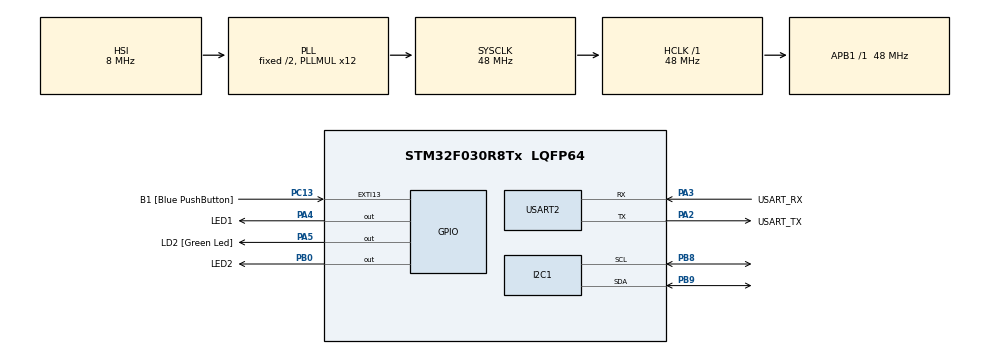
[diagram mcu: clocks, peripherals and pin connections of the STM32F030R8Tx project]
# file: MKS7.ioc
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FREERTOS.Queues01=xVisualQueue,16,uint16_t,0,Dynamic,NULL,NULL
FREERTOS.Tasks01=defaultTask,0,128,StartDefaultTask,Default,NULL,Dynamic,NULL,NULL;VisualTask,0,128,StartVisualTask,Default,NULL,Dynamic,NULL,NULL;AcceleroTask,0,128,StartAcceleroTask,Default,NULL,Dynamic,NULL,NULL
FREERTOS.configUSE_NEWLIB_REENTRANT=1
I2C1.Timing=0x00201D2B
Mcu.Family=STM32F0
Mcu.Name=STM32F030R8Tx
Mcu.Package=LQFP64
NVIC.TIM14_IRQn=true\:3\:0\:false\:false\:true\:false\:false\:true\:true
NVIC.TimeBase=TIM14_IRQn
NVIC.TimeBaseIP=TIM14
PA13.GPIO_Label=TMS
PA13.Mode=Serial_Wire
PA13.Signal=SYS_SWDIO
PA14.GPIO_Label=TCK
PA14.Mode=Serial_Wire
PA14.Signal=SYS_SWCLK
PA2.GPIO_Label=USART_TX
PA2.GPIO_Mode=GPIO_MODE_AF_PP
PA2.GPIO_PuPd=GPIO_NOPULL
PA2.GPIO_Speed=GPIO_SPEED_FREQ_LOW
PA2.Mode=Asynchronous
PA2.Signal=USART2_TX
PA3.GPIO_Label=USART_RX
PA3.GPIO_Mode=GPIO_MODE_AF_PP
PA3.GPIO_PuPd=GPIO_NOPULL
PA3.GPIO_Speed=GPIO_SPEED_FREQ_LOW
PA3.Mode=Asynchronous
PA3.Signal=USART2_RX
PA4.GPIO_Label=LED1
PA4.Signal=GPIO_Output
PA5.GPIO_Label=LD2 [Green Led]
PA5.GPIO_Mode=GPIO_MODE_OUTPUT_PP
PA5.GPIO_PuPd=GPIO_NOPULL
PA5.GPIO_Speed=GPIO_SPEED_FREQ_LOW
PA5.Signal=GPIO_Output
PB0.GPIO_Label=LED2
PB0.Signal=GPIO_Output
PB8.Mode=I2C
PB8.Signal=I2C1_SCL
PB9.Mode=I2C
PB9.Signal=I2C1_SDA
PC13.GPIO_Label=B1 [Blue PushButton]
PC13.GPIO_ModeDefaultEXTI=GPIO_MODE_IT_FALLING
PC13.Signal=GPXTI13
PC14-OSC32_IN.Mode=LSE-External-Oscillator
PC14-OSC32_IN.Signal=RCC_OSC32_IN
PC15-OSC32_OUT.Mode=LSE-External-Oscillator
PC15-OSC32_OUT.Signal=RCC_OSC32_OUT
PF0-OSC_IN.Mode=HSE-External-Clock-Source
PF0-OSC_IN.Signal=RCC_OSC_IN
PF1-OSC_OUT.Signal=RCC_OSC_OUT
ProjectManager.HeapSize=0x200
ProjectManager.StackSize=0x400
ProjectManager.TargetToolchain=STM32CubeIDE
RCC.AHBFreq_Value=48000000
RCC.APB1Freq_Value=48000000
RCC.APB1TimFreq_Value=48000000
RCC.HCLKFreq_Value=48000000
RCC.PLLMUL=RCC_PLL_MUL12
RCC.SYSCLKFreq_VALUE=48000000
RCC.SYSCLKSource=RCC_SYSCLKSOURCE_PLLCLK
USART2.VirtualMode-Asynchronous=VM_ASYNC
VP_FREERTOS_VS_CMSIS_V1.Mode=CMSIS_V1
VP_SYS_VS_tim14.Mode=TIM14
board=NUCLEO-F030R8

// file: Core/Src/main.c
/* USER CODE BEGIN Header */
/**
 ******************************************************************************
 * @file           : main.c
 * @brief          : Main program body
 ******************************************************************************
 * @attention
 *
 * Copyright (c) 2024 STMicroelectronics.
 * All rights reserved.
 *
 * This software is licensed under terms that can be found in the LICENSE file
 * in the root directory of this software component.
 * If no LICENSE file comes with this software, it is provided AS-IS.
 *
 ******************************************************************************
 */
/* USER CODE END Header */
#include "main.h"
#include "cmsis_os.h"

/* USER CODE BEGIN Includes */
#include <stdio.h>
#include "lis2dw12_reg.h"
/* USER CODE END Includes */

I2C_HandleTypeDef hi2c1;

UART_HandleTypeDef huart2;

osThreadId defaultTaskHandle;
osThreadId VisualTaskHandle;
osThreadId AcceleroTaskHandle;
osMessageQId xVisualQueueHandle;

void SystemClock_Config(void);
static void MX_GPIO_Init(void);
static void MX_USART2_UART_Init(void);
static void MX_I2C1_Init(void);
void StartDefaultTask(void const * argument);
void StartVisualTask(void const * argument);
void StartAcceleroTask(void const * argument);

/* USER CODE BEGIN 0 */

// define device context
static int32_t platform_write(void *handle, uint8_t reg, const uint8_t *bufp, uint16_t len);
static int32_t platform_read(void *handle, uint8_t reg, uint8_t *bufp, uint16_t len);
static stmdev_ctx_t lis2dw12 =
{ .write_reg = platform_write, .read_reg = platform_read, .handle = &hi2c1, };

/*
 * Replace the functions "platform_write" and "platform_read" with your
 * platform specific read and write function.
 */
static int32_t platform_write(void *handle, uint8_t reg, const uint8_t *bufp, uint16_t len)
{
	HAL_I2C_Mem_Write(handle, LIS2DW12_I2C_ADD_H, reg, I2C_MEMADD_SIZE_8BIT, (uint8_t*) bufp, len, 1000);
	return 0;
}
static int32_t platform_read(void *handle, uint8_t reg, uint8_t *bufp, uint16_t len)
{
	HAL_I2C_Mem_Read(handle, LIS2DW12_I2C_ADD_H, reg, I2C_MEMADD_SIZE_8BIT, bufp, len, 1000);
	return 0;
}

int _write(int file, char const *buf, int n)
{
	/* stdout redirection to UART2 */
	HAL_UART_Transmit(&huart2, (uint8_t*) (buf), n, HAL_MAX_DELAY);
	return n;
}

/* USER CODE END 0 */

int main(void)
{

  /* MCU Configuration--------------------------------------------------------*/

  /* Reset of all peripherals, Initializes the Flash interface and the Systick. */
  HAL_Init();

  /* Configure the system clock */
  SystemClock_Config();

  /* Initialize all configured peripherals */
  MX_GPIO_Init();
  MX_USART2_UART_Init();
  MX_I2C1_Init();

  /* Create the queue(s) */
  /* definition and creation of xVisualQueue */
  osMessageQDef(xVisualQueue, 16, uint16_t);
  xVisualQueueHandle = osMessageCreate(osMessageQ(xVisualQueue), NULL);

  /* Create the thread(s) */
  /* definition and creation of defaultTask */
  osThreadDef(defaultTask, StartDefaultTask, osPriorityNormal, 0, 128);
  defaultTaskHandle = osThreadCreate(osThread(defaultTask), NULL);

  /* definition and creation of VisualTask */
  osThreadDef(VisualTask, StartVisualTask, osPriorityNormal, 0, 128);
  VisualTaskHandle = osThreadCreate(osThread(VisualTask), NULL);

  /* definition and creation of AcceleroTask */
  osThreadDef(AcceleroTask, StartAcceleroTask, osPriorityNormal, 0, 128);
  AcceleroTaskHandle = osThreadCreate(osThread(AcceleroTask), NULL);

  /* Start scheduler */
  osKernelStart();

  /* We should never get here as control is now taken by the scheduler */

  /* Infinite loop */
	while (1)
	{

	}
}

void SystemClock_Config(void)
{
  RCC_OscInitTypeDef RCC_OscInitStruct = {0};
  RCC_ClkInitTypeDef RCC_ClkInitStruct = {0};
  RCC_PeriphCLKInitTypeDef PeriphClkInit = {0};

  /** Initializes the RCC Oscillators according to the specified parameters
  * in the RCC_OscInitTypeDef structure.
  */
  RCC_OscInitStruct.OscillatorType = RCC_OSCILLATORTYPE_HSI;
  RCC_OscInitStruct.HSIState = RCC_HSI_ON;
  RCC_OscInitStruct.HSICalibrationValue = RCC_HSICALIBRATION_DEFAULT;
  RCC_OscInitStruct.PLL.PLLState = RCC_PLL_ON;
  RCC_OscInitStruct.PLL.PLLSource = RCC_PLLSOURCE_HSI;
  RCC_OscInitStruct.PLL.PLLMUL = RCC_PLL_MUL12;
  RCC_OscInitStruct.PLL.PREDIV = RCC_PREDIV_DIV1;
  if (HAL_RCC_OscConfig(&RCC_OscInitStruct) != HAL_OK)
  {
    Error_Handler();
  }

  /** Initializes the CPU, AHB and APB buses clocks
  */
  RCC_ClkInitStruct.ClockType = RCC_CLOCKTYPE_HCLK|RCC_CLOCKTYPE_SYSCLK
                              |RCC_CLOCKTYPE_PCLK1;
  RCC_ClkInitStruct.SYSCLKSource = RCC_SYSCLKSOURCE_PLLCLK;
  RCC_ClkInitStruct.AHBCLKDivider = RCC_SYSCLK_DIV1;
  RCC_ClkInitStruct.APB1CLKDivider = RCC_HCLK_DIV1;

  if (HAL_RCC_ClockConfig(&RCC_ClkInitStruct, FLASH_LATENCY_1) != HAL_OK)
  {
    Error_Handler();
  }
  PeriphClkInit.PeriphClockSelection = RCC_PERIPHCLK_I2C1;
  PeriphClkInit.I2c1ClockSelection = RCC_I2C1CLKSOURCE_HSI;
  if (HAL_RCCEx_PeriphCLKConfig(&PeriphClkInit) != HAL_OK)
  {
    Error_Handler();
  }
}

static void MX_I2C1_Init(void)
{

  hi2c1.Instance = I2C1;
  hi2c1.Init.Timing = 0x00201D2B;
  hi2c1.Init.OwnAddress1 = 0;
  hi2c1.Init.AddressingMode = I2C_ADDRESSINGMODE_7BIT;
  hi2c1.Init.DualAddressMode = I2C_DUALADDRESS_DISABLE;
  hi2c1.Init.OwnAddress2 = 0;
  hi2c1.Init.OwnAddress2Masks = I2C_OA2_NOMASK;
  hi2c1.Init.GeneralCallMode = I2C_GENERALCALL_DISABLE;
  hi2c1.Init.NoStretchMode = I2C_NOSTRETCH_DISABLE;
  if (HAL_I2C_Init(&hi2c1) != HAL_OK)
  {
    Error_Handler();
  }

  /** Configure Analogue filter
  */
  if (HAL_I2CEx_ConfigAnalogFilter(&hi2c1, I2C_ANALOGFILTER_ENABLE) != HAL_OK)
  {
    Error_Handler();
  }

  /** Configure Digital filter
  */
  if (HAL_I2CEx_ConfigDigitalFilter(&hi2c1, 0) != HAL_OK)
  {
    Error_Handler();
  }

}

static void MX_USART2_UART_Init(void)
{

  huart2.Instance = USART2;
  huart2.Init.BaudRate = 38400;
  huart2.Init.WordLength = UART_WORDLENGTH_8B;
  huart2.Init.StopBits = UART_STOPBITS_1;
  huart2.Init.Parity = UART_PARITY_NONE;
  huart2.Init.Mode = UART_MODE_TX_RX;
  huart2.Init.HwFlowCtl = UART_HWCONTROL_NONE;
  huart2.Init.OverSampling = UART_OVERSAMPLING_16;
  huart2.Init.OneBitSampling = UART_ONE_BIT_SAMPLE_DISABLE;
  huart2.AdvancedInit.AdvFeatureInit = UART_ADVFEATURE_NO_INIT;
  if (HAL_UART_Init(&huart2) != HAL_OK)
  {
    Error_Handler();
  }

}

static void MX_GPIO_Init(void)
{
  GPIO_InitTypeDef GPIO_InitStruct = {0};

  /* GPIO Ports Clock Enable */
  __HAL_RCC_GPIOC_CLK_ENABLE();
  __HAL_RCC_GPIOF_CLK_ENABLE();
  __HAL_RCC_GPIOA_CLK_ENABLE();
  __HAL_RCC_GPIOB_CLK_ENABLE();

  /*Configure GPIO pin Output Level */
  HAL_GPIO_WritePin(GPIOA, LED1_Pin|LD2_Pin, GPIO_PIN_RESET);

  /*Configure GPIO pin Output Level */
  HAL_GPIO_WritePin(LED2_GPIO_Port, LED2_Pin, GPIO_PIN_RESET);

  /*Configure GPIO pin : B1_Pin */
  GPIO_InitStruct.Pin = B1_Pin;
  GPIO_InitStruct.Mode = GPIO_MODE_IT_FALLING;
  GPIO_InitStruct.Pull = GPIO_NOPULL;
  HAL_GPIO_Init(B1_GPIO_Port, &GPIO_InitStruct);

  /*Configure GPIO pins : LED1_Pin LD2_Pin */
  GPIO_InitStruct.Pin = LED1_Pin|LD2_Pin;
  GPIO_InitStruct.Mode = GPIO_MODE_OUTPUT_PP;
  GPIO_InitStruct.Pull = GPIO_NOPULL;
  GPIO_InitStruct.Speed = GPIO_SPEED_FREQ_LOW;
  HAL_GPIO_Init(GPIOA, &GPIO_InitStruct);

  /*Configure GPIO pin : LED2_Pin */
  GPIO_InitStruct.Pin = LED2_Pin;
  GPIO_InitStruct.Mode = GPIO_MODE_OUTPUT_PP;
  GPIO_InitStruct.Pull = GPIO_NOPULL;
  GPIO_InitStruct.Speed = GPIO_SPEED_FREQ_LOW;
  HAL_GPIO_Init(LED2_GPIO_Port, &GPIO_InitStruct);

}

void StartDefaultTask(void const * argument)
{
  /* USER CODE BEGIN 5 */
	/* Infinite loop */
	for (;;)
	{
		/*
		// Send test messages to VisualTask
		static int16_t msg;
		 msg = 5000;
		 xQueueSend(xVisualQueueHandle, &msg, 0);
		 vTaskDelay(100);
		 msg = 0;
		 xQueueSend(xVisualQueueHandle, &msg, 0);
		 vTaskDelay(100);
		 msg = -5000;
		 xQueueSend(xVisualQueueHandle, &msg, 0);
		 vTaskDelay(100);
		 msg = 0;
		 xQueueSend(xVisualQueueHandle, &msg, 0);
		 vTaskDelay(100);
		 osDelay(1);
		 */
	}
  /* USER CODE END 5 */
}

void StartVisualTask(void const * argument)
{
  /* USER CODE BEGIN StartVisualTask */
	/* Infinite loop */
	for (;;)
	{
		int16_t msg = 0;
		if (xQueueReceive(xVisualQueueHandle, &msg, portMAX_DELAY)) // wait for message
		{
			if (msg < -1000)
			{
				HAL_GPIO_WritePin(LED1_GPIO_Port, LED1_Pin, 1);	// turn on LED1
			}
			else
			{
				HAL_GPIO_WritePin(LED1_GPIO_Port, LED1_Pin, 0); // turn off LED1
			}

			if (msg > 1000)
			{
				HAL_GPIO_WritePin(LED2_GPIO_Port, LED2_Pin, 1); // turn on LED2
			}
			else
			{
				HAL_GPIO_WritePin(LED2_GPIO_Port, LED2_Pin, 0);	// turn off LED2
			}
		}
		osDelay(1);
	}
  /* USER CODE END StartVisualTask */
}

void StartAcceleroTask(void const * argument)
{
  /* USER CODE BEGIN StartAcceleroTask */
	// Check device ID
	uint8_t whoamI = 0;
	lis2dw12_device_id_get(&lis2dw12, &whoamI);	// Get device ID
	printf("LIS2DW12_ID %s\n", (whoamI == LIS2DW12_ID) ? "OK" : "FAIL");	// Print device ID
	osDelay(500);

	// Set accelerometer settings

	lis2dw12_full_scale_set(&lis2dw12, LIS2DW12_2g);	// Set full scale to 2g
	lis2dw12_power_mode_set(&lis2dw12, LIS2DW12_CONT_LOW_PWR_LOW_NOISE_2);	// Set power mode to low power
	lis2dw12_block_data_update_set(&lis2dw12, PROPERTY_ENABLE);	// Enable block data update
	lis2dw12_fifo_mode_set(&lis2dw12, LIS2DW12_STREAM_MODE);	// enable continuous FIFO mode
	lis2dw12_data_rate_set(&lis2dw12, LIS2DW12_XL_ODR_25Hz);	// enable part from power-down

	/* Infinite loop */
	for (;;)
	{
		//	Read acceleration data
		uint8_t counter = 0;
		uint8_t samples;
		int16_t raw_acceleration[3];
		lis2dw12_fifo_data_level_get(&lis2dw12, &samples);	// Get number of samples in FIFO
		for (uint8_t i = 0; i < samples; i++)	// Read all samples from FIFO
		{
			counter++;
			lis2dw12_acceleration_raw_get(&lis2dw12, raw_acceleration);	// Read acceleration data
			printf("X=%d Y=%d Z=%d\n\r", raw_acceleration[0], raw_acceleration[1], raw_acceleration[2]);	// Print acceleration data
			xQueueSend(xVisualQueueHandle, &raw_acceleration[0], 0);	// Send X acceleration data to VisualTask
		}
		printf("S=%d\n\r", counter);	// Print number of samples
		counter = 0;	// Reset counter

		vTaskDelay(50);
	}
  /* USER CODE END StartAcceleroTask */
}

void HAL_TIM_PeriodElapsedCallback(TIM_HandleTypeDef *htim)
{
  if (htim->Instance == TIM14) {
    HAL_IncTick();
  }
}

void Error_Handler(void)
{
	__disable_irq();
	while (1)
	{
	}
}
